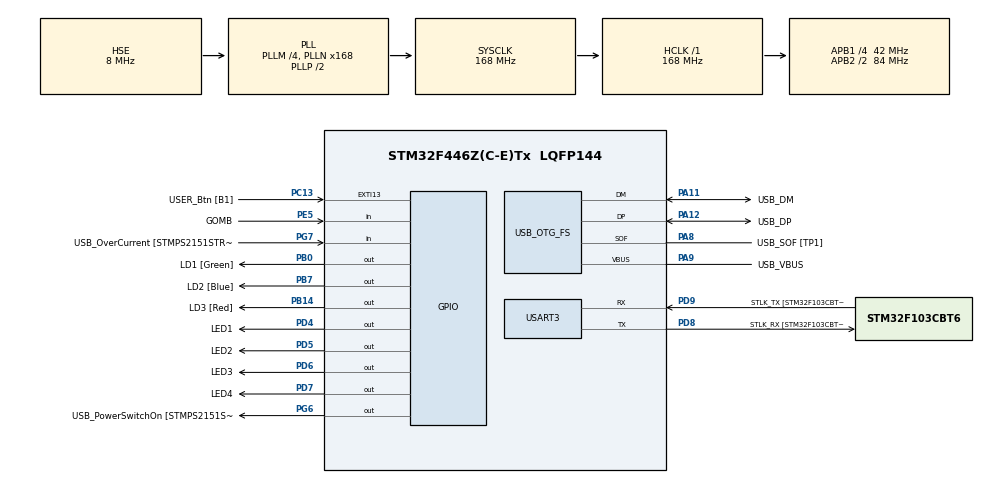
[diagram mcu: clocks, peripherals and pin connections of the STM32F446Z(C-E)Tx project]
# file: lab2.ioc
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Mcu.Family=STM32F4
Mcu.Name=STM32F446Z(C-E)Tx
Mcu.Package=LQFP144
NVIC.PriorityGroup=NVIC_PRIORITYGROUP_4
PA10.GPIO_Label=USB_ID
PA10.Signal=USB_OTG_FS_ID
PA11.GPIO_Label=USB_DM
PA11.Mode=Device_Only
PA11.Signal=USB_OTG_FS_DM
PA12.GPIO_Label=USB_DP
PA12.Mode=Device_Only
PA12.Signal=USB_OTG_FS_DP
PA13.GPIO_Label=TMS
PA13.Mode=Serial_Wire
PA13.Signal=SYS_JTMS-SWDIO
PA14.GPIO_Label=TCK
PA14.Mode=Serial_Wire
PA14.Signal=SYS_JTCK-SWCLK
PA8.GPIO_Label=USB_SOF [TP1]
PA8.Mode=Activate_SOF_FS
PA8.Signal=USB_OTG_FS_SOF
PA9.GPIO_Label=USB_VBUS
PA9.Mode=Activate_VBUS
PA9.Signal=USB_OTG_FS_VBUS
PB0.GPIO_Label=LD1 [Green]
PB0.Signal=GPIO_Output
PB14.GPIO_Label=LD3 [Red]
PB14.Signal=GPIO_Output
PB7.GPIO_Label=LD2 [Blue]
PB7.Signal=GPIO_Output
PC13.GPIO_Label=USER_Btn [B1]
PC13.Signal=GPXTI13
PC14-OSC32_IN.Mode=LSE-External-Oscillator
PC14-OSC32_IN.Signal=RCC_OSC32_IN
PC15-OSC32_OUT.Mode=LSE-External-Oscillator
PC15-OSC32_OUT.Signal=RCC_OSC32_OUT
PD4.GPIO_Label=LED1
PD4.Signal=GPIO_Output
PD5.GPIO_Label=LED2
PD5.Signal=GPIO_Output
PD6.GPIO_Label=LED3
PD6.Signal=GPIO_Output
PD7.GPIO_Label=LED4
PD7.Signal=GPIO_Output
PD8.GPIO_Label=STLK_RX [STM32F103CBT6_PA3]
PD8.Mode=Asynchronous
PD8.Signal=USART3_TX
PD9.GPIO_Label=STLK_TX [STM32F103CBT6_PA2]
PD9.Mode=Asynchronous
PD9.Signal=USART3_RX
PE5.GPIO_Label=GOMB
PE5.GPIO_PuPd=GPIO_PULLDOWN
PE5.Signal=GPIO_Input
PG6.GPIO_Label=USB_PowerSwitchOn [STMPS2151STR_EN]
PG6.Signal=GPIO_Output
PG7.GPIO_Label=USB_OverCurrent [STMPS2151STR_FAULT]
PG7.Signal=GPIO_Input
PH0-OSC_IN.GPIO_Label=MCO [STM32F103CBT6_PA8]
PH0-OSC_IN.Mode=HSE-External-Clock-Source
PH0-OSC_IN.Signal=RCC_OSC_IN
PH1-OSC_OUT.Mode=HSE-External-Clock-Source
PH1-OSC_OUT.Signal=RCC_OSC_OUT
ProjectManager.HeapSize=0x200
ProjectManager.StackSize=0x400
ProjectManager.TargetToolchain=STM32CubeIDE
RCC.48MHZClocksFreq_Value=24000000
RCC.AHBFreq_Value=168000000
RCC.APB1CLKDivider=RCC_HCLK_DIV4
RCC.APB1Freq_Value=42000000
RCC.APB1TimFreq_Value=84000000
RCC.APB2CLKDivider=RCC_HCLK_DIV2
RCC.APB2Freq_Value=84000000
RCC.APB2TimFreq_Value=168000000
RCC.CortexFreq_Value=168000000
RCC.HCLKFreq_Value=168000000
RCC.HSE_VALUE=8000000
RCC.HSI_VALUE=16000000
RCC.PLLM=4
RCC.PLLMUL=RCC_PLL_MUL9
RCC.PLLN=168
RCC.PLLQ=7
RCC.PRESCALERUSB=RCC_USBCLKSOURCE_PLL_DIV1_5
RCC.SYSCLKFreq_VALUE=168000000
RCC.SYSCLKSource=RCC_SYSCLKSOURCE_PLLCLK
RCC.SYSCLKSourceVirtual=RCC_SYSCLKSOURCE_PLLCLK
RCC.USBFreq_Value=48000000
RCC.VCOOutputFreq_Value=336000000
USART3.VirtualMode=VM_ASYNC
USB_OTG_FS.VirtualMode=Device_Only
board=NUCLEO-F446ZE

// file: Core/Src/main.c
/* USER CODE BEGIN Header */
/**
  ******************************************************************************
  * @file           : main.c
  * @brief          : Main program body
  ******************************************************************************
  * @attention
  *
  * Copyright (c) 2026 STMicroelectronics.
  * All rights reserved.
  *
  * This software is licensed under terms that can be found in the LICENSE file
  * in the root directory of this software component.
  * If no LICENSE file comes with this software, it is provided AS-IS.
  *
  ******************************************************************************
  */
/* USER CODE END Header */
#include "main.h"

UART_HandleTypeDef huart3;

PCD_HandleTypeDef hpcd_USB_OTG_FS;

void SystemClock_Config(void);
static void MX_GPIO_Init(void);
static void MX_USART3_UART_Init(void);
static void MX_USB_OTG_FS_PCD_Init(void);

int main(void)
{

  /* MCU Configuration--------------------------------------------------------*/

  /* Reset of all peripherals, Initializes the Flash interface and the Systick. */
  HAL_Init();

  /* Configure the system clock */
  SystemClock_Config();

  /* Initialize all configured peripherals */
  MX_GPIO_Init();
  MX_USART3_UART_Init();
  MX_USB_OTG_FS_PCD_Init();
  /* USER CODE BEGIN 2 */

  uint8_t count_debounce = 0; // korábbival megegyező állapotok száma
  uint8_t previous_state_debounce; // gomb korábbi állapot
  uint8_t current_state_debounce =
  HAL_GPIO_ReadPin(GOMB_GPIO_Port,GOMB_Pin); // gomb aktuális állapot
  uint8_t previous_state_edge = HAL_GPIO_ReadPin(GOMB_GPIO_Port,GOMB_Pin);
  // éldetektálásra szolgáló változó
  uint8_t counter = 0; //ciklusváltozó

  /* USER CODE END 2 */

  /* Infinite loop */
  while (1)
  {
	  /*
	  HAL_GPIO_TogglePin(LED1_GPIO_Port, LED1_Pin);
	  HAL_Delay(300);
	  HAL_GPIO_TogglePin(LED1_GPIO_Port, LED1_Pin);
	  HAL_GPIO_TogglePin(LED2_GPIO_Port, LED2_Pin);
	  HAL_Delay(300);
	  HAL_GPIO_TogglePin(LED2_GPIO_Port, LED2_Pin);			Futofeny
	  HAL_GPIO_TogglePin(LED3_GPIO_Port, LED3_Pin);
	  HAL_Delay(300);
	  HAL_GPIO_TogglePin(LED3_GPIO_Port, LED3_Pin);
	  HAL_GPIO_TogglePin(LED4_GPIO_Port, LED4_Pin);
	  HAL_Delay(300);
	  HAL_GPIO_TogglePin(LED4_GPIO_Port, LED4_Pin);*/
    /* USER CODE BEGIN 3 */

	  count_debounce = 0;

	  while (count_debounce < DEBOUNCING_TRESHOLD)
	  {
	      previous_state_debounce = current_state_debounce;
	      current_state_debounce = HAL_GPIO_ReadPin(GOMB_GPIO_Port, GOMB_Pin);

	      if (previous_state_debounce == current_state_debounce)
	      {
	          count_debounce++;
	      }
	      else
	      {
	          count_debounce = 0;
	      }
	      HAL_Delay(1);
	  }

	  if (!current_state_debounce && previous_state_edge)
	  {
	      HAL_GPIO_WritePin(LED1_GPIO_Port, LED1_Pin, (counter & 0x08) ? GPIO_PIN_SET : GPIO_PIN_RESET);
	      HAL_GPIO_WritePin(LED2_GPIO_Port, LED2_Pin, (counter & 0x04) ? GPIO_PIN_SET : GPIO_PIN_RESET);
	      HAL_GPIO_WritePin(LED3_GPIO_Port, LED3_Pin, (counter & 0x02) ? GPIO_PIN_SET : GPIO_PIN_RESET);
	      HAL_GPIO_WritePin(LED4_GPIO_Port, LED4_Pin, (counter & 0x01) ? GPIO_PIN_SET : GPIO_PIN_RESET);

	      counter++;
	  }
	  previous_state_edge = current_state_debounce;
  }
  /* USER CODE END 3 */
}

void SystemClock_Config(void)
{
  RCC_OscInitTypeDef RCC_OscInitStruct = {0};
  RCC_ClkInitTypeDef RCC_ClkInitStruct = {0};

  /** Configure the main internal regulator output voltage
  */
  __HAL_RCC_PWR_CLK_ENABLE();
  __HAL_PWR_VOLTAGESCALING_CONFIG(PWR_REGULATOR_VOLTAGE_SCALE1);

  /** Initializes the RCC Oscillators according to the specified parameters
  * in the RCC_OscInitTypeDef structure.
  */
  RCC_OscInitStruct.OscillatorType = RCC_OSCILLATORTYPE_HSE;
  RCC_OscInitStruct.HSEState = RCC_HSE_BYPASS;
  RCC_OscInitStruct.PLL.PLLState = RCC_PLL_ON;
  RCC_OscInitStruct.PLL.PLLSource = RCC_PLLSOURCE_HSE;
  RCC_OscInitStruct.PLL.PLLM = 4;
  RCC_OscInitStruct.PLL.PLLN = 168;
  RCC_OscInitStruct.PLL.PLLP = RCC_PLLP_DIV2;
  RCC_OscInitStruct.PLL.PLLQ = 7;
  RCC_OscInitStruct.PLL.PLLR = 2;
  if (HAL_RCC_OscConfig(&RCC_OscInitStruct) != HAL_OK)
  {
    Error_Handler();
  }

  /** Initializes the CPU, AHB and APB buses clocks
  */
  RCC_ClkInitStruct.ClockType = RCC_CLOCKTYPE_HCLK|RCC_CLOCKTYPE_SYSCLK
                              |RCC_CLOCKTYPE_PCLK1|RCC_CLOCKTYPE_PCLK2;
  RCC_ClkInitStruct.SYSCLKSource = RCC_SYSCLKSOURCE_PLLCLK;
  RCC_ClkInitStruct.AHBCLKDivider = RCC_SYSCLK_DIV1;
  RCC_ClkInitStruct.APB1CLKDivider = RCC_HCLK_DIV4;
  RCC_ClkInitStruct.APB2CLKDivider = RCC_HCLK_DIV2;

  if (HAL_RCC_ClockConfig(&RCC_ClkInitStruct, FLASH_LATENCY_5) != HAL_OK)
  {
    Error_Handler();
  }
}

static void MX_USART3_UART_Init(void)
{

  huart3.Instance = USART3;
  huart3.Init.BaudRate = 115200;
  huart3.Init.WordLength = UART_WORDLENGTH_8B;
  huart3.Init.StopBits = UART_STOPBITS_1;
  huart3.Init.Parity = UART_PARITY_NONE;
  huart3.Init.Mode = UART_MODE_TX_RX;
  huart3.Init.HwFlowCtl = UART_HWCONTROL_NONE;
  huart3.Init.OverSampling = UART_OVERSAMPLING_16;
  if (HAL_UART_Init(&huart3) != HAL_OK)
  {
    Error_Handler();
  }

}

static void MX_USB_OTG_FS_PCD_Init(void)
{

  hpcd_USB_OTG_FS.Instance = USB_OTG_FS;
  hpcd_USB_OTG_FS.Init.dev_endpoints = 6;
  hpcd_USB_OTG_FS.Init.speed = PCD_SPEED_FULL;
  hpcd_USB_OTG_FS.Init.dma_enable = DISABLE;
  hpcd_USB_OTG_FS.Init.phy_itface = PCD_PHY_EMBEDDED;
  hpcd_USB_OTG_FS.Init.Sof_enable = ENABLE;
  hpcd_USB_OTG_FS.Init.low_power_enable = DISABLE;
  hpcd_USB_OTG_FS.Init.lpm_enable = DISABLE;
  hpcd_USB_OTG_FS.Init.vbus_sensing_enable = ENABLE;
  hpcd_USB_OTG_FS.Init.use_dedicated_ep1 = DISABLE;
  if (HAL_PCD_Init(&hpcd_USB_OTG_FS) != HAL_OK)
  {
    Error_Handler();
  }

}

static void MX_GPIO_Init(void)
{
  GPIO_InitTypeDef GPIO_InitStruct = {0};

  /* GPIO Ports Clock Enable */
  __HAL_RCC_GPIOE_CLK_ENABLE();
  __HAL_RCC_GPIOC_CLK_ENABLE();
  __HAL_RCC_GPIOH_CLK_ENABLE();
  __HAL_RCC_GPIOB_CLK_ENABLE();
  __HAL_RCC_GPIOD_CLK_ENABLE();
  __HAL_RCC_GPIOG_CLK_ENABLE();
  __HAL_RCC_GPIOA_CLK_ENABLE();

  /*Configure GPIO pin Output Level */
  HAL_GPIO_WritePin(GPIOB, LD1_Pin|LD3_Pin|LD2_Pin, GPIO_PIN_RESET);

  /*Configure GPIO pin Output Level */
  HAL_GPIO_WritePin(USB_PowerSwitchOn_GPIO_Port, USB_PowerSwitchOn_Pin, GPIO_PIN_RESET);

  /*Configure GPIO pin Output Level */
  HAL_GPIO_WritePin(GPIOD, LED1_Pin|LED2_Pin|LED3_Pin|LED4_Pin, GPIO_PIN_RESET);

  /*Configure GPIO pin : GOMB_Pin */
  GPIO_InitStruct.Pin = GOMB_Pin;
  GPIO_InitStruct.Mode = GPIO_MODE_INPUT;
  GPIO_InitStruct.Pull = GPIO_PULLDOWN;
  HAL_GPIO_Init(GOMB_GPIO_Port, &GPIO_InitStruct);

  /*Configure GPIO pin : USER_Btn_Pin */
  GPIO_InitStruct.Pin = USER_Btn_Pin;
  GPIO_InitStruct.Mode = GPIO_MODE_IT_RISING;
  GPIO_InitStruct.Pull = GPIO_NOPULL;
  HAL_GPIO_Init(USER_Btn_GPIO_Port, &GPIO_InitStruct);

  /*Configure GPIO pins : LD1_Pin LD3_Pin LD2_Pin */
  GPIO_InitStruct.Pin = LD1_Pin|LD3_Pin|LD2_Pin;
  GPIO_InitStruct.Mode = GPIO_MODE_OUTPUT_PP;
  GPIO_InitStruct.Pull = GPIO_NOPULL;
  GPIO_InitStruct.Speed = GPIO_SPEED_FREQ_LOW;
  HAL_GPIO_Init(GPIOB, &GPIO_InitStruct);

  /*Configure GPIO pin : USB_PowerSwitchOn_Pin */
  GPIO_InitStruct.Pin = USB_PowerSwitchOn_Pin;
  GPIO_InitStruct.Mode = GPIO_MODE_OUTPUT_PP;
  GPIO_InitStruct.Pull = GPIO_NOPULL;
  GPIO_InitStruct.Speed = GPIO_SPEED_FREQ_LOW;
  HAL_GPIO_Init(USB_PowerSwitchOn_GPIO_Port, &GPIO_InitStruct);

  /*Configure GPIO pin : USB_OverCurrent_Pin */
  GPIO_InitStruct.Pin = USB_OverCurrent_Pin;
  GPIO_InitStruct.Mode = GPIO_MODE_INPUT;
  GPIO_InitStruct.Pull = GPIO_NOPULL;
  HAL_GPIO_Init(USB_OverCurrent_GPIO_Port, &GPIO_InitStruct);

  /*Configure GPIO pins : LED1_Pin LED2_Pin LED3_Pin LED4_Pin */
  GPIO_InitStruct.Pin = LED1_Pin|LED2_Pin|LED3_Pin|LED4_Pin;
  GPIO_InitStruct.Mode = GPIO_MODE_OUTPUT_PP;
  GPIO_InitStruct.Pull = GPIO_NOPULL;
  GPIO_InitStruct.Speed = GPIO_SPEED_FREQ_LOW;
  HAL_GPIO_Init(GPIOD, &GPIO_InitStruct);

}

void Error_Handler(void)
{
  __disable_irq();
  while (1)
  {
  }
}
